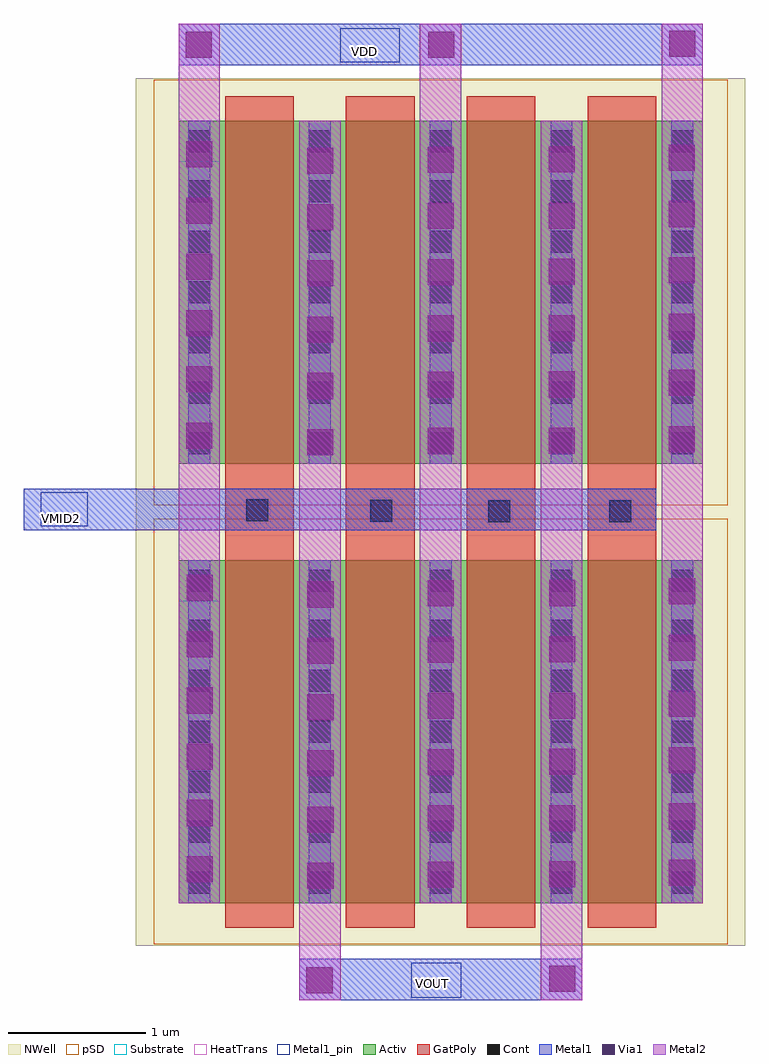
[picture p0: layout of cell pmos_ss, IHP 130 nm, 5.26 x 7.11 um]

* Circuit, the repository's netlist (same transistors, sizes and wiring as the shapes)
* Extracted by KLayout with SG13G2 LVS runset on : 30/04/2024 10:28

* cell pmos_ss
* pin VOUT
* pin VDD
* pin VMID2
.SUBCKT pmos_ss VOUT VDD VMID2
* device instance $1 r0 *1 -4.734,5.389 sg13_lv_pmos
M$1 VDD VMID2 VOUT \$8 sg13_lv_pmos W=20.0 L=0.5
.ENDS pmos_ss

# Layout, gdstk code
from math import pi, radians
import gdstk
lib = gdstk.Library(unit=1e-6, precision=1e-09)
def R(c, l, rs):  # rectangles x0, y0, x1, y1
    for r in rs: c.add(gdstk.rectangle(r[:2], r[2:], *l))
def A(c, l, x, y, w, h, nx, ny, dx, dy):  # array of equal rectangles
    R(c, l, [(x+i*dx, y+j*dy, x+i*dx+w, y+j*dy+h) for i in range(nx) for j in range(ny)])
Activ = (1, 0)
GatPoly = (5, 0)
Cont = (6, 0)
Metal1 = (8, 0)
Metal1_pin = (8, 2)
Metal2 = (10, 0)
pSD = (14, 0)
Via1 = (19, 0)
NWell = (31, 0)
Substrate = (40, 0)
HeatTrans = (51, 0)

pmos_1 = lib.new_cell('pmos$1')
A(pmos_1, Activ, 0, 0, 0.3, 0.3, 5, 1, 0.88, 0)
R(pmos_1, Activ, [(0,0,3.82,2.5)])
A(pmos_1, GatPoly, 0.34, -0.18, 0.5, 2.86, 4, 1, 0.88, 0)
R(pmos_1, GatPoly, [(0.34,-0.18,0.84,2.68), (0.34,-0.18,0.84,2.68)])
A(pmos_1, Cont, 0.07, 0.07, 0.16, 0.16, 5, 3, 0.88, 0.365)
A(pmos_1, Cont, 0.07, 1.17, 0.16, 0.16, 5, 3, 0.88, 0.365)
A(pmos_1, Cont, 0.07, 2.27, 0.16, 0.16, 5, 1, 0.88, 0)
A(pmos_1, Metal1, 0.95, 0, 0.16, 2.5, 4, 1, 0.88, 0)
R(pmos_1, Metal1, [(0.07,0,0.23,2.5), (0.07,0,0.23,2.5), (0.07,0,0.23,2.5), (0.95,0,1.11,2.5), (0.95,0,1.11,2.5)])
R(pmos_1, pSD, [(-0.18,-0.3,4,2.8)])
R(pmos_1, NWell, [(-0.31,-0.31,4.13,2.81)])
R(pmos_1, Substrate, [(3.52,0,3.82,0.3), (3.52,0,3.82,0.3)])
A(pmos_1, HeatTrans, 0.34, -0.18, 0.5, 2.86, 4, 1, 0.88, 0)
pmos_1.add(gdstk.Label('pmos', (0.59,1.25), layer=63, texttype=0))
pmos_1.add(gdstk.Label('pmos', (0.59,1.25), layer=51, texttype=0))
pmos_1.add(gdstk.Label('pmos', (1.47,1.25), layer=51, texttype=0))
pmos_1.add(gdstk.Label('pmos', (2.35,1.25), layer=51, texttype=0))
pmos_1.add(gdstk.Label('pmos', (3.23,1.25), layer=51, texttype=0))

pmos_ss = lib.new_cell('pmos_ss')
A(pmos_ss, GatPoly, -4.984, 6.819, 0.5, 0.34, 4, 1, 0.88, 0)
R(pmos_ss, Cont, [(-2.186,6.914,-2.026,7.074), (-3.067,6.915,-2.907,7.075), (-3.926,6.918,-3.766,7.078), (-4.83,6.922,-4.67,7.082)])
R(pmos_ss, Metal1, [(-4.444,3.434,-2.384,3.734), (-6.453,6.857,-1.844,7.157), (-5.324,10.244,-1.504,10.544)])
R(pmos_ss, Metal1_pin, [(-3.627,3.45,-3.263,3.704), (-6.327,6.887,-5.984,7.134), (-4.146,10.267,-3.711,10.514)])
R(pmos_ss, Metal2, [(-4.444,3.434,-4.144,9.839), (-2.684,3.434,-2.384,9.839), (-5.324,4.139,-5.024,10.544), (-3.565,4.139,-3.265,10.544), (-1.804,4.139,-1.504,10.544)])
A(pmos_ss, Via1, -5.265, 4.291, 0.19, 0.19, 1, 6, 0, 0.41)
A(pmos_ss, Via1, -5.267, 7.45, 0.19, 0.19, 1, 6, 0, 0.41)
R(pmos_ss, Via1, [(-4.392,3.484,-4.202,3.674), (-2.625,3.493,-2.435,3.683), (-4.385,4.243,-4.195,4.433), (-4.385,4.243,-4.195,4.433), (-3.508,4.252,-3.318,4.442), (-3.508,4.252,-3.318,4.442), (-2.625,4.254,-2.435,4.444), (-2.625,4.254,-2.435,4.444), (-1.751,4.266,-1.561,4.456), (-1.751,4.266,-1.561,4.456), (-4.385,4.653,-4.195,4.843), (-4.385,4.653,-4.195,4.843), (-3.508,4.662,-3.318,4.852), (-3.508,4.662,-3.318,4.852), (-2.625,4.664,-2.435,4.854), (-2.625,4.664,-2.435,4.854), (-1.751,4.676,-1.561,4.866), (-1.751,4.676,-1.561,4.866), (-4.385,5.063,-4.195,5.253), (-4.385,5.063,-4.195,5.253), (-3.508,5.072,-3.318,5.262), (-3.508,5.072,-3.318,5.262), (-2.625,5.074,-2.435,5.264), (-2.625,5.074,-2.435,5.264), (-1.751,5.086,-1.561,5.276), (-1.751,5.086,-1.561,5.276), (-4.385,5.473,-4.195,5.663), (-4.385,5.473,-4.195,5.663), (-3.508,5.482,-3.318,5.672), (-3.508,5.482,-3.318,5.672), (-2.625,5.484,-2.435,5.674), (-2.625,5.484,-2.435,5.674), (-1.751,5.496,-1.561,5.686), (-1.751,5.496,-1.561,5.686), (-4.385,5.883,-4.195,6.073), (-4.385,5.883,-4.195,6.073), (-3.508,5.892,-3.318,6.082), (-3.508,5.892,-3.318,6.082), (-2.625,5.894,-2.435,6.084), (-2.625,5.894,-2.435,6.084), (-1.751,5.906,-1.561,6.096), (-1.751,5.906,-1.561,6.096), (-4.385,6.293,-4.195,6.483), (-4.385,6.293,-4.195,6.483), (-3.508,6.302,-3.318,6.492), (-3.508,6.302,-3.318,6.492), (-2.625,6.304,-2.435,6.494), (-2.625,6.304,-2.435,6.494), (-1.751,6.316,-1.561,6.506), (-1.751,6.316,-1.561,6.506), (-4.387,7.402,-4.197,7.592), (-4.387,7.402,-4.197,7.592), (-3.51,7.411,-3.32,7.601), (-3.51,7.411,-3.32,7.601), (-2.627,7.413,-2.437,7.603), (-2.627,7.413,-2.437,7.603), (-1.753,7.425,-1.563,7.615), (-1.753,7.425,-1.563,7.615), (-4.387,7.812,-4.197,8.002), (-4.387,7.812,-4.197,8.002), (-3.51,7.821,-3.32,8.011), (-3.51,7.821,-3.32,8.011), (-2.627,7.823,-2.437,8.013), (-2.627,7.823,-2.437,8.013), (-1.753,7.835,-1.563,8.025), (-1.753,7.835,-1.563,8.025), (-4.387,8.222,-4.197,8.412), (-4.387,8.222,-4.197,8.412), (-3.51,8.231,-3.32,8.421), (-3.51,8.231,-3.32,8.421), (-2.627,8.233,-2.437,8.423), (-2.627,8.233,-2.437,8.423), (-1.753,8.245,-1.563,8.435), (-1.753,8.245,-1.563,8.435), (-4.387,8.632,-4.197,8.822), (-4.387,8.632,-4.197,8.822), (-3.51,8.641,-3.32,8.831), (-3.51,8.641,-3.32,8.831), (-2.627,8.643,-2.437,8.833), (-2.627,8.643,-2.437,8.833), (-1.753,8.655,-1.563,8.845), (-1.753,8.655,-1.563,8.845), (-4.387,9.042,-4.197,9.232), (-4.387,9.042,-4.197,9.232), (-3.51,9.051,-3.32,9.241), (-3.51,9.051,-3.32,9.241), (-2.627,9.053,-2.437,9.243), (-2.627,9.053,-2.437,9.243), (-1.753,9.065,-1.563,9.255), (-1.753,9.065,-1.563,9.255), (-4.387,9.452,-4.197,9.642), (-4.387,9.452,-4.197,9.642), (-3.51,9.461,-3.32,9.651), (-3.51,9.461,-3.32,9.651), (-2.627,9.463,-2.437,9.653), (-2.627,9.463,-2.437,9.653), (-1.753,9.475,-1.563,9.665), (-1.753,9.475,-1.563,9.665), (-3.504,10.297,-3.314,10.487), (-5.273,10.299,-5.083,10.489), (-1.749,10.305,-1.559,10.495)])
R(pmos_ss, NWell, [(-5.634,6.949,-1.194,7.029)])
r = gdstk.Reference(pmos_1, (-1.504,9.839), rotation=pi); r.repetition = gdstk.Repetition(1, 2, v1=(0,0), v2=(0,-3.2)); pmos_ss.add(r)
pmos_ss.add(gdstk.Label('VDD', (-3.971,10.341), layer=8, texttype=1))
pmos_ss.add(gdstk.Label('VOUT', (-3.471,3.551), layer=8, texttype=1))
pmos_ss.add(gdstk.Label('VMID2', (-6.174,6.942), layer=8, texttype=1))

lib.write_gds('pmos_ss.gds')
